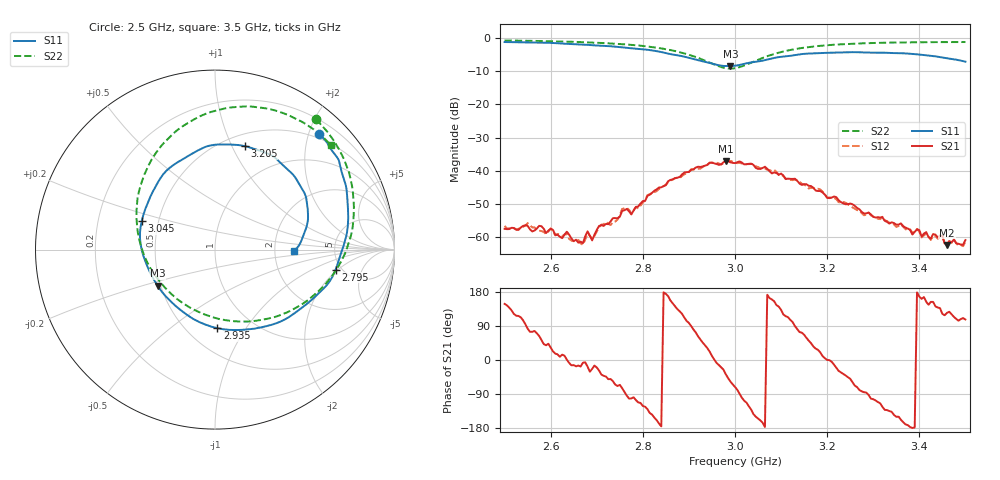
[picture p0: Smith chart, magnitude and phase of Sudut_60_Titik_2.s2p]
# Hz S RI R 50
! CMT, C1220, 16058040, 17.2.0/1
! Date: 15/08/2018 10:48:28
! Data: Format (Calibration Info)
! Freq  S11: Re/Im (F2)  S21: Re/Im (F2)  S12: Re/Im (F2)  S22: Re/Im (F2)
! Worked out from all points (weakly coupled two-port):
!   201 points, 2.5 GHz to 3.5 GHz, reference 50 ohm
!   highest |S21| = -37.11 dB at 2.98 GHz (marker M1); lowest = -62.4 dB at 3.46 GHz (marker M2)
!   lowest |S11| = -8.5 dB at 2.99 GHz (marker M3), VSWR 2.21, Z = 24.1 - j11.3 ohm
!   |S11| at or under -10 dB: nowhere
!   |S22| runs from -9.2 to -0.7 dB; largest |S21 - S12| = 0.00095
!   S11 on the Smith chart (normalised r, x): 2.5 GHz: 0.41, +2.18; 2.795 GHz: 4.47, -1.85; 2.935 GHz: 0.69, -0.75; 3.045 GHz: 0.40, +0.16; 3.205 GHz: 0.62, +1.12; 3.5 GHz: 2.57, -0.05
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2.5e9  0.5812 0.6465  -0.00113 0.000708  -0.00128 0.000747  0.5632 0.7255
2.58e9  0.679 0.5157  0.000889 0.00116  0.000779 0.000959  0.6518 0.6214
2.67e9  0.7355 0.308  0.000808 -9.89e-05  0.000755 -0.00014  0.7378 0.4538
2.68e9  0.7378 0.278  0.00117 -0.000368  0.00108 -0.000309  0.7461 0.4315
2.69e9  0.7399 0.2437  0.000824 -0.000357  0.000865 -0.000341  0.7519 0.408
2.705e9  0.7421 0.1985  0.00131 -0.000692  0.00128 -0.000604  0.7608 0.3688
2.755e9  0.7216 0.0401  0.000674 -0.00239  0.000816 -0.00253  0.7739 0.2293
2.775e9  0.6996 -0.0275  -0.000435 -0.00216  -0.00055 -0.00221  0.7707 0.1632
2.795e9  0.6722 -0.1111  -0.00127 -0.00296  -0.00118 -0.00275  0.761 0.0927
2.835e9  0.5738 -0.2481  -0.00548 -0.00121  -0.0052 -0.0013  0.7031 -0.0648
2.935e9  0.0126 -0.4378  0.00934 0.00749  0.00901 0.00792  0.2242 -0.3968
2.98e9  -0.2729 -0.2623  0.011 -0.00854  0.011 -0.00799  -0.1407 -0.3224
2.99e9  -0.3193 -0.2013  0.00734 -0.0112  0.00787 -0.0117  -0.214 -0.2734
3e9  -0.3577 -0.1364  0.00422 -0.0124  0.00363 -0.0126  -0.2793 -0.2114
3.045e9  -0.408 0.1597  -0.00951 -0.00562  -0.00997 -0.00609  -0.4344 0.1338
3.095e9  -0.2703 0.4398  -0.00675 0.00553  -0.00623 0.00598  -0.3661 0.4772
3.17e9  0.0333 0.5859  0.00449 0.00325  0.00428 0.00353  -0.0907 0.7393
3.205e9  0.1648 0.5763  0.00388 -2.91e-05  0.00395 -0.000294  0.0365 0.7824
3.335e9  0.4648 0.3729  -0.00113 -0.00114  -0.00119 -0.00114  0.3919 0.756
3.45e9  0.4992 0.097  -0.000546 0.000885  -0.000618 0.000833  0.5846 0.6415
3.46e9  0.4898 0.0724  -0.00043 0.000629  -0.000397 0.000668  0.5974 0.6316
3.5e9  0.4406 -0.00817  -0.000262 0.000867  -0.000221 0.00083  0.6442 0.5842
